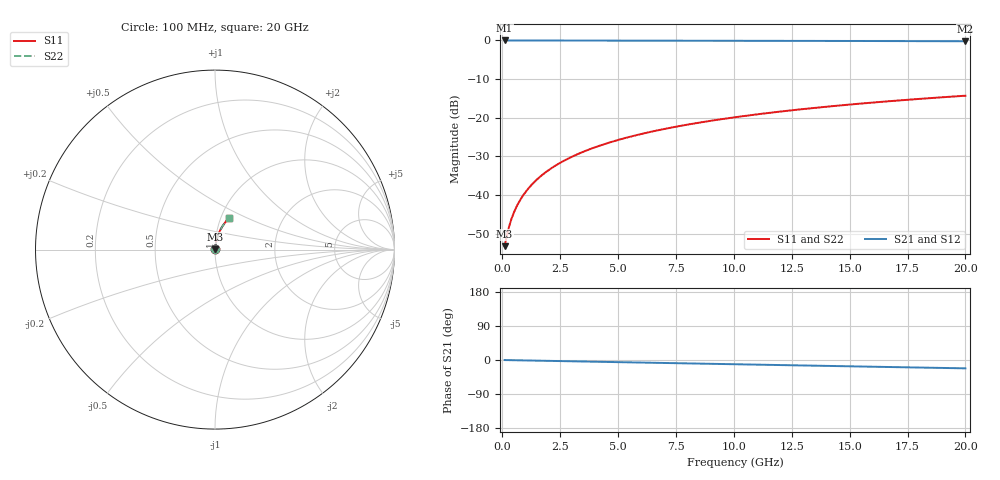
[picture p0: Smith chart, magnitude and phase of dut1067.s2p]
! Touchstone file exported from HFSS 2026.1.0
!  File:  C:/ffzhzh/LocalFiles/Ansys_Project_Files/temp_train_BSMRDL_1067_1783174195_22436.aedt
!  Generated:  10:11:05 PM Jul  4, 2026
!  Design:  BSMRDL
!  Project:  temp_train_BSMRDL_1067_1783174195_22436
! Variables:
!  h_bsmrdl = 2.93um
!  h_ox = 20um
!  h_rdl = 5um
!  h_sub = 80um
!  h_tmrdl = 5um
!  h_tsv = 80um
!  h_via = 3um
!  l_bsmrdl = 305.9um
!  l_sub = 705.9um
!  l_tmrdl = 200um
!  m_sub = 200um
!  pitch = 43.25um
!  r_tsv = 6um
!  s_tmrdl = 10um
!  w_bsmrdl = 23.77um
!  w_sub = 500um
!  w_tmrdl = 12um
!  x_tsv_center1 = 206um
!  x_tsv_center2 = 535.67um
!  x_tsv_center3 = 747.67um
!  x_tsv_center4 = 1077.34um
!  x_tsv_center5 = 1289.34um
!  x_tsv_center6 = 1619.01um
# GHz S MA R 50.000000
! Terminal data exported
! Port[1] = BSM_RDL1_1_T1
! Port[2] = BSM_RDL1_1_T2
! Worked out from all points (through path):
!   200 points, 100 MHz to 20 GHz, reference 50 ohm
!   highest |S21| = -0.02 dB at 100 MHz (marker M1); lowest = -0.2 dB at 20 GHz (marker M2)
!   group delay of S21, straight-line fit = 3.06 ps
!   lowest |S11| = -53.2 dB at 100 MHz (marker M3), VSWR 1.00, Z = 50.2 + j0.118 ohm
!   |S11| at or under -10 dB: start of sweep to end of sweep
!   |S22| runs from -53.2 to -14.3 dB; largest |S21 - S12| = 3.3e-15
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0.1  0.002181 32.6  0.9982 -0.1  0.9982 -0.1  0.002181 32.6
! Gamma 0 0 0 0
! Port Impedance 50 0 50 0
0.2  0.003011 50.3  0.9981 -0.2  0.9981 -0.2  0.003011 50.3
0.3  0.00397 59.2  0.998 -0.4  0.998 -0.4  0.00397 59.2
0.4  0.004953 64.4  0.9979 -0.5  0.9979 -0.5  0.004953 64.4
0.5  0.005936 67.8  0.9978 -0.6  0.9978 -0.6  0.005936 67.8
0.6  0.00692 70.4  0.9977 -0.7  0.9977 -0.7  0.00692 70.4
0.8  0.008894 73.8  0.9976 -0.9  0.9976 -0.9  0.008894 73.8
1.1  0.01188 77.0  0.9975 -1.3  0.9975 -1.3  0.01188 77.0
1.3  0.0139 78.3  0.9974 -1.5  0.9974 -1.5  0.0139 78.3
1.6  0.01693 79.6  0.9974 -1.8  0.9974 -1.8  0.01693 79.6
2.1  0.02202 80.8  0.9972 -2.4  0.9972 -2.4  0.02202 80.8
2.7  0.02814 81.4  0.9969 -3.1  0.9969 -3.1  0.02814 81.4
3.5  0.03631 81.5  0.9965 -4.0  0.9965 -4.0  0.03631 81.5
4.2  0.04343 81.3  0.996 -4.8  0.996 -4.8  0.04343 81.3
5  0.05153 80.8  0.9955 -5.7  0.9955 -5.7  0.05153 80.8
5.9  0.06058 80.1  0.9947 -6.7  0.9947 -6.7  0.06058 80.1
6.8  0.06957 79.3  0.9939 -7.7  0.9939 -7.7  0.06957 79.3
8.3  0.08438 77.8  0.9923 -9.3  0.9923 -9.3  0.08438 77.8
10.1  0.1019 76.0  0.9901 -11.3  0.9901 -11.3  0.1019 76.0
13.4  0.1332 72.7  0.9855 -14.9  0.9855 -14.9  0.1332 72.7
16.7  0.1634 69.3  0.9803 -18.5  0.9803 -18.5  0.1634 69.3
20  0.1926 65.9  0.9744 -22.0  0.9744 -22.0  0.1926 65.9
